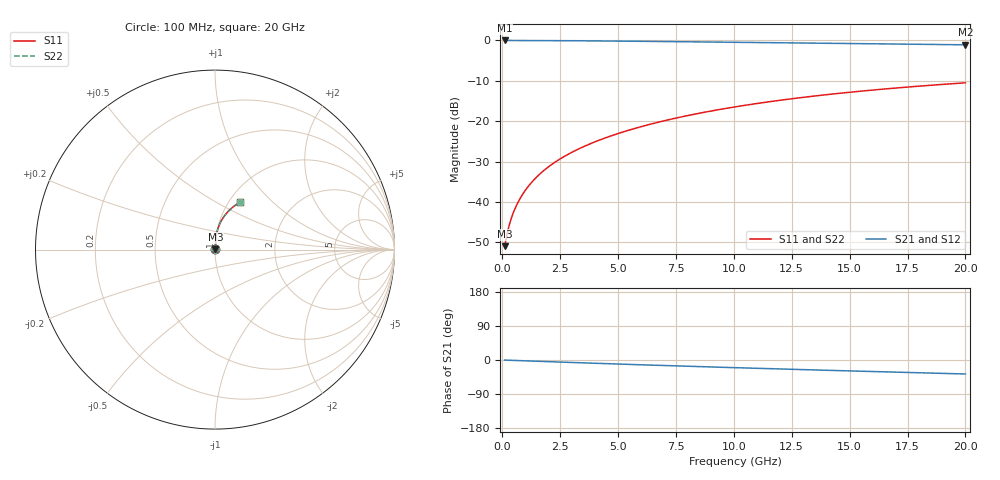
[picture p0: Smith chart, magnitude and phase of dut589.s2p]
! Touchstone file exported from HFSS 2024.1.0
!  File:  C:/UserFiles/LocalFiles/RDL_TSV_Batchsim/temp_RDL_bottom_589_1779690980.aedt
!  Generated:  02:38:48 PM May 25, 2026
!  Design:  RDL_bottom
!  Project:  temp_RDL_bottom_589_1779690980
!  Setup:  Setup1
!  Solution:  Sweep
! Variables:
!  dtsv = 10.80580581um
!  hbump = 3um
!  htsv = 70.32um
!  ldown = 568.96um
!  lrdl = 100um
!  p = 40
!  p1 = 42.17um
!  rhole = 1um
!  t = 450um
!  tdown = 4.18um
!  trdl = 3.915915916um
!  wdown = 22.09um
!  wrdl = 20um
# GHz S MA R 50.000000
! Terminal data exported
! Port[1] = RDL1_T1
! Port[2] = RDL1_T2
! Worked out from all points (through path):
!   200 points, 100 MHz to 20 GHz, reference 50 ohm
!   highest |S21| = -0.02 dB at 100 MHz (marker M1); lowest = -1.1 dB at 20 GHz (marker M2)
!   group delay of S21, straight-line fit = 5.08 ps
!   lowest |S11| = -50.9 dB at 100 MHz (marker M3), VSWR 1.01, Z = 50.2 + j0.157 ohm
!   |S11| at or under -10 dB: start of sweep to end of sweep
!   |S22| runs from -50.9 to -10.5 dB; largest |S21 - S12| = 4e-15
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0.1  0.002843 33.4  0.9976 -0.2  0.9976 -0.2  0.002843 33.4
! Gamma 0 0 0 0
! Port Impedance 50 0 50 0
0.2  0.003955 50.4  0.9974 -0.5  0.9974 -0.5  0.003954 50.4
0.3  0.005187 58.9  0.9972 -0.7  0.9972 -0.7  0.005187 58.9
0.4  0.006429 64.1  0.9971 -0.9  0.9971 -0.9  0.006429 64.1
0.5  0.007673 67.8  0.9969 -1.1  0.9969 -1.1  0.007672 67.8
0.6  0.008922 70.5  0.9968 -1.3  0.9968 -1.3  0.008922 70.5
0.8  0.01145 74.4  0.9965 -1.8  0.9965 -1.8  0.01145 74.4
1.1  0.01533 78.1  0.996 -2.4  0.996 -2.4  0.01533 78.1
1.3  0.01795 79.7  0.9956 -2.9  0.9956 -2.9  0.01795 79.7
1.6  0.02194 81.4  0.9949 -3.5  0.9949 -3.5  0.02194 81.4
2.1  0.02869 83.2  0.9934 -4.6  0.9934 -4.6  0.02869 83.2
2.7  0.03697 84.3  0.9913 -5.9  0.9913 -5.9  0.03697 84.3
3.5  0.04828 85.0  0.9878 -7.6  0.9878 -7.6  0.04829 85.0
4.2  0.05845 85.2  0.9843 -9.1  0.9843 -9.1  0.05846 85.2
5  0.07037 85.0  0.9798 -10.7  0.9798 -10.7  0.07039 85.0
6.8  0.09819 83.5  0.9687 -14.2  0.9687 -14.2  0.09823 83.6
8.4  0.1237 81.6  0.9582 -17.2  0.9582 -17.2  0.1238 81.6
10.1  0.1512 79.0  0.9468 -20.3  0.9468 -20.3  0.1512 79.1
11.7  0.1768 76.4  0.9361 -23.2  0.9361 -23.2  0.177 76.4
13.4  0.2036 73.4  0.9248 -26.1  0.9248 -26.1  0.2038 73.5
16.7  0.2531 67.6  0.9029 -31.6  0.9029 -31.6  0.2533 67.6
20  0.2985 61.9  0.8813 -36.9  0.8813 -36.9  0.2987 61.9
